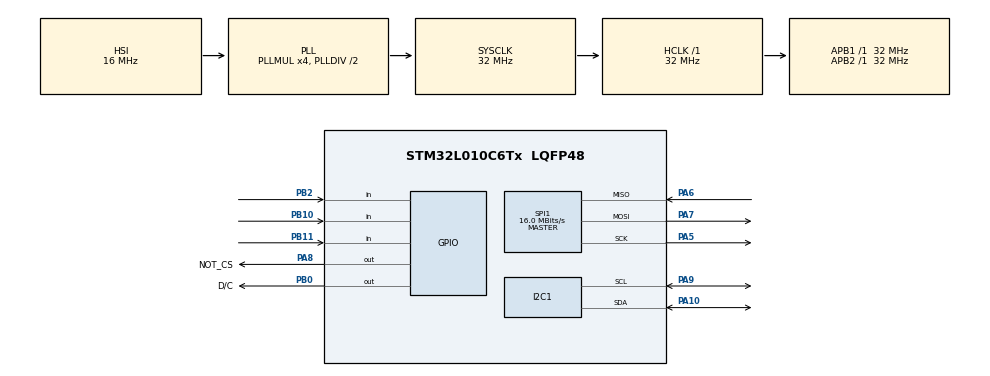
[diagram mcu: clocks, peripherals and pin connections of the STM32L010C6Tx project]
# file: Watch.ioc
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I2C1.Timing=0x00707CBB
Mcu.Family=STM32L0
Mcu.Name=STM32L010C6Tx
Mcu.Package=LQFP48
PA10.Mode=I2C
PA10.Signal=I2C1_SDA
PA13.Mode=Serial_Wire
PA13.Signal=SYS_SWDIO
PA14.Mode=Serial_Wire
PA14.Signal=SYS_SWCLK
PA5.Mode=Full_Duplex_Master
PA5.Signal=SPI1_SCK
PA6.Mode=Full_Duplex_Master
PA6.Signal=SPI1_MISO
PA7.Mode=Full_Duplex_Master
PA7.Signal=SPI1_MOSI
PA8.GPIO_Label=NOT_CS
PA8.Signal=GPIO_Output
PA9.Mode=I2C
PA9.Signal=I2C1_SCL
PB0.GPIO_Label=D/C
PB0.Signal=GPIO_Output
PB10.Signal=GPIO_Input
PB11.Signal=GPIO_Input
PB2.Signal=GPIO_Input
ProjectManager.HeapSize=0x200
ProjectManager.StackSize=0x400
ProjectManager.TargetToolchain=STM32CubeIDE
RCC.ADCFreq_Value=16000000
RCC.AHBFreq_Value=32000000
RCC.APB1Freq_Value=32000000
RCC.APB1TimFreq_Value=32000000
RCC.APB2Freq_Value=32000000
RCC.APB2TimFreq_Value=32000000
RCC.HCLKFreq_Value=32000000
RCC.HSE_VALUE=16000000
RCC.HSI16_VALUE=16000000
RCC.HSI_VALUE=16000000
RCC.LSE_VALUE=32768
RCC.MSI_VALUE=2097000
RCC.PLLMUL=RCC_PLLMUL_4
RCC.SYSCLKFreq_VALUE=32000000
RCC.SYSCLKSource=RCC_SYSCLKSOURCE_PLLCLK
RCC.VCOOutputFreq_Value=64000000
SPI1.BaudRatePrescaler=SPI_BAUDRATEPRESCALER_2
SPI1.CLKPhase=SPI_PHASE_2EDGE
SPI1.CLKPolarity=SPI_POLARITY_HIGH
SPI1.CalculateBaudRate=16.0 MBits/s
SPI1.Direction=SPI_DIRECTION_2LINES
SPI1.FirstBit=SPI_FIRSTBIT_MSB
SPI1.Mode=SPI_MODE_MASTER
SPI1.VirtualType=VM_MASTER
TIM21.Prescaler=32-1
VP_TIM21_VS_ClockSourceINT.Mode=Internal
board=custom

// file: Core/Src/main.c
/* USER CODE BEGIN Header */
/**
  ******************************************************************************
  * @file           : main.c
  * @brief          : Main program body
  ******************************************************************************
  * @attention
  *
  * <h2><center>&copy; Copyright (c) 2022 STMicroelectronics.
  * All rights reserved.</center></h2>
  *
  * This software component is licensed by ST under BSD 3-Clause license,
  * the "License"; You may not use this file except in compliance with the
  * License. You may obtain a copy of the License at:
  *                        opensource.org/licenses/BSD-3-Clause
  *
  ******************************************************************************
  */
/* USER CODE END Header */
#include "main.h"
#include "i2c.h"
#include "spi.h"
#include "tim.h"
#include "gpio.h"

/* USER CODE BEGIN Includes */
#include "statemachine.h"
/* USER CODE END Includes */

/* USER CODE BEGIN PV */
//char string_buffer[10];
//uint8_t time_values[6] = {0};
/* USER CODE END PV */

void SystemClock_Config(void);

int main(void)
{

  /* MCU Configuration--------------------------------------------------------*/

  /* Reset of all peripherals, Initializes the Flash interface and the Systick. */
  HAL_Init();

  /* Configure the system clock */
  SystemClock_Config();

  /* Initialize all configured peripherals */
  MX_GPIO_Init();
  MX_I2C1_Init();
  MX_SPI1_Init();
  MX_TIM21_Init();
  /* USER CODE BEGIN 2 */

  struct Watch Watch;
  Watch_init(&Watch, 0x30, 0x21, 5, 0x23, 0x09, 0x22);

//  HAL_TIM_Base_Start(&htim21);
//  OLED_init();
//  RTC_init(0x35, 0x23);
//
//  HAL_Delay(100);
//
//  OLED_setFillColor(0, 0, 0);
//  HAL_Delay(100);
//  OLED_drawRect(0, 0, 95, 63, OLED_FILL_TRUE);
//  HAL_Delay(100);
//  OLED_setFillColor(40, 40, 40);
//  HAL_Delay(100);
//  OLED_drawRect(12, 18, 83, 44, OLED_FILL_FALSE);
  /* USER CODE END 2 */

  /* Infinite loop */
  /* USER CODE BEGIN WHILE */
  while (1)
  {

	switch(Watch.WatchState)
	{

		case Get_Time:
			Watch_Get_Time_State(&Watch);
			break;
		case Display_Time:
			Watch_Display_Time_State(&Watch);
			break;
		case Get_Date:
			Watch_Get_Date_State(&Watch);
			break;
		case Display_Date:
			Watch_Display_Date_State(&Watch);
			break;

	}
//	RTC_getTime(time_values);
//	conv_BCD(time_values);
//	sprintf(string_buffer, "%d%d:%d%d:%d%d", time_values[4] , time_values[5], time_values[2], time_values[3], time_values[0], time_values[1]);
//	OLED_drawString(string_buffer, 16, 24);

//	while(HAL_GPIO_ReadPin(GPIOB, GPIO_PIN_2) == GPIO_PIN_RESET)
//	{
//		if(HAL_GPIO_ReadPin(GPIOB, GPIO_PIN_10) == GPIO_PIN_RESET)
//		{
//			time_values[3]++;
//
//			if(time_values[3] > 9)
//			{
//				time_values[3] = 0;
//				time_values[2]++;
//				if(time_values[2] > 5)
//					time_values[2] = 0;
//			}
//			sprintf(string_buffer, "%d%d:%d%d:%d%d", time_values[4] , time_values[5], time_values[2], time_values[3], time_values[0], time_values[1]);
//			OLED_drawString(string_buffer, 16, 24);
//			RTC_updateMins(time_values[2], time_values[3]);
//		}
//
//		if(HAL_GPIO_ReadPin(GPIOB, GPIO_PIN_11) == GPIO_PIN_RESET)
//		{
//			time_values[5]++;
//
//			if(time_values[5] > 9 && time_values[4] != 2)
//			{
//				time_values[5] = 0;
//				time_values[4]++;
//			}
//
//			if(time_values[5] > 3 && time_values[4] == 2)
//			{
//				time_values[5] = 0;
//				time_values[4] = 0;
//			}
//
//			sprintf(string_buffer, "%d%d:%d%d:%d%d", time_values[4] , time_values[5], time_values[2], time_values[3], time_values[0], time_values[1]);
//			OLED_drawString(string_buffer, 16, 24);
//			RTC_updateHours(time_values[4], time_values[5]);
//		}
//
//	}

    /* USER CODE END WHILE */

  }
}

void SystemClock_Config(void)
{
  RCC_OscInitTypeDef RCC_OscInitStruct = {0};
  RCC_ClkInitTypeDef RCC_ClkInitStruct = {0};
  RCC_PeriphCLKInitTypeDef PeriphClkInit = {0};

  /** Configure the main internal regulator output voltage
  */
  __HAL_PWR_VOLTAGESCALING_CONFIG(PWR_REGULATOR_VOLTAGE_SCALE1);
  /** Initializes the RCC Oscillators according to the specified parameters
  * in the RCC_OscInitTypeDef structure.
  */
  RCC_OscInitStruct.OscillatorType = RCC_OSCILLATORTYPE_HSI;
  RCC_OscInitStruct.HSIState = RCC_HSI_ON;
  RCC_OscInitStruct.HSICalibrationValue = RCC_HSICALIBRATION_DEFAULT;
  RCC_OscInitStruct.PLL.PLLState = RCC_PLL_ON;
  RCC_OscInitStruct.PLL.PLLSource = RCC_PLLSOURCE_HSI;
  RCC_OscInitStruct.PLL.PLLMUL = RCC_PLLMUL_4;
  RCC_OscInitStruct.PLL.PLLDIV = RCC_PLLDIV_2;
  if (HAL_RCC_OscConfig(&RCC_OscInitStruct) != HAL_OK)
  {
    Error_Handler();
  }
  /** Initializes the CPU, AHB and APB buses clocks
  */
  RCC_ClkInitStruct.ClockType = RCC_CLOCKTYPE_HCLK|RCC_CLOCKTYPE_SYSCLK
                              |RCC_CLOCKTYPE_PCLK1|RCC_CLOCKTYPE_PCLK2;
  RCC_ClkInitStruct.SYSCLKSource = RCC_SYSCLKSOURCE_PLLCLK;
  RCC_ClkInitStruct.AHBCLKDivider = RCC_SYSCLK_DIV1;
  RCC_ClkInitStruct.APB1CLKDivider = RCC_HCLK_DIV1;
  RCC_ClkInitStruct.APB2CLKDivider = RCC_HCLK_DIV1;

  if (HAL_RCC_ClockConfig(&RCC_ClkInitStruct, FLASH_LATENCY_1) != HAL_OK)
  {
    Error_Handler();
  }
  PeriphClkInit.PeriphClockSelection = RCC_PERIPHCLK_I2C1;
  PeriphClkInit.I2c1ClockSelection = RCC_I2C1CLKSOURCE_PCLK1;
  if (HAL_RCCEx_PeriphCLKConfig(&PeriphClkInit) != HAL_OK)
  {
    Error_Handler();
  }
}

void Error_Handler(void)
{
  __disable_irq();
  while (1)
  {
  }
}

/************************ (C) COPYRIGHT STMicroelectronics *****END OF FILE****/
